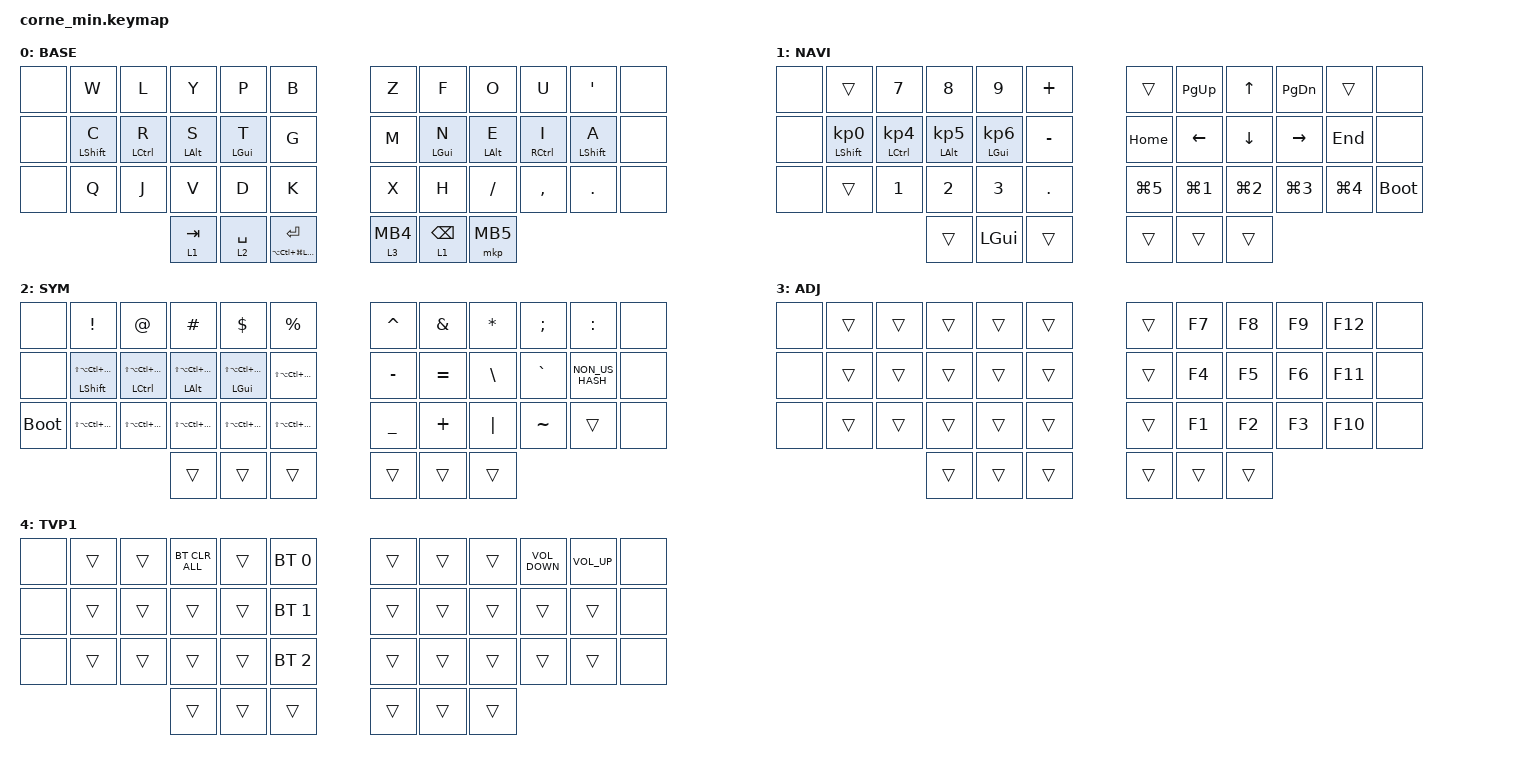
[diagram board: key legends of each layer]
/*
 * Copyright (c) 2020 The ZMK Contributors
 *
 * SPDX-License-Identifier: MIT
 */

#include <behaviors.dtsi>
#include <dt-bindings/zmk/bt.h>
#include <dt-bindings/zmk/keys.h>
#include <dt-bindings/zmk/pointing.h>

#define BASE 0
#define NAV  1
#define SYM  2
#define ADJ  3
#define TVP1 4
#define TVP2 5

&mt {
    quick-tap-ms = <100>;
    global-quick-tap;
    flavor = "tap-preferred";
    tapping-term-ms = <170>;
};

&lt { quick-tap-ms = <400>; };

/ {
    behaviors {
        td_copy_cut: td_copy_cut {
            compatible = "zmk,behavior-tap-dance";
            label = "TD_COPY_CUT";
            #binding-cells = <0>;
            bindings = <&copy_macro>, <&cut_macro>;

            tapping-term-ms = <300>;
        };

        hrm: hrm {
            compatible = "zmk,behavior-hold-tap";
            label = "HRM";
            #binding-cells = <2>;
            flavor = "balanced";
            tapping-term-ms = <400>;
            quick-tap-ms = <0>;
            global-quick-tap;
            bindings = <&kp>, <&kp>;
        };

        ht: ht {
            compatible = "zmk,behavior-hold-tap";
            label = "HT_LAYER_MOUSE";
            #binding-cells = <2>;
            flavor = "balanced";
            tapping-term-ms = <200>;
            bindings = <&mo>, <&mkp>;
        };
    };

    combos {
        compatible = "zmk,combos";

        Arrow {
            bindings = <&Arrow>;
            key-positions = <9 10>;
        };

        Paste {
            bindings = <&paste_macro>;
            key-positions = <28 27>;
        };

        CurlyL {
            bindings = <&kp LEFT_BRACE>;
            key-positions = <19 20>;
        };

        Enter {
            bindings = <&kp ENTER>;
            key-positions = <19 20 21>;
        };

        ParaL {
            bindings = <&kp LEFT_PARENTHESIS>;
            key-positions = <7 8>;
        };

        SquareL {
            bindings = <&kp LEFT_BRACKET>;
            key-positions = <31 32>;
        };

        SquareR {
            bindings = <&kp RIGHT_BRACKET>;
            key-positions = <33 32>;
        };

        ParaR {
            bindings = <&kp RIGHT_PARENTHESIS>;
            key-positions = <9 8>;
        };

        CurlyR {
            bindings = <&kp RIGHT_BRACE>;
            key-positions = <21 20>;
        };

        Tab {
            bindings = <&kp TAB>;
            key-positions = <14 15 16>;
        };

        Undo {
            timeout-ms = <50>;
            bindings = <&undo_macro>;
            key-positions = <3 4>;
        };

        Copy {
            bindings = <&td_copy_cut>;
            key-positions = <15 16>;
        };

        switch {
            bindings = <&kp LS(LA(LC(LG(F12))))>;
            key-positions = <5 6>;
        };

        switch2 {
            bindings = <&kp LS(LA(LC(LG(F11))))>;
            key-positions = <17 18>;
        };

        switch3 {
            bindings = <&kp LS(LC(LA(LG(F16))))>;
            key-positions = <29 30>;
        };

        Switch4 {
            bindings = <&kp LS(LA(LC(LG(F13))))>;
            key-positions = <4 7>;
        };

        Switch5 {
            bindings = <&kp LS(LA(LC(LG(F14))))>;
            key-positions = <19 16>;
        };

        Switch6 {
            bindings = <&kp LS(LA(LC(LG(F15))))>;
            key-positions = <28 31>;
        };

        Esc {
            bindings = <&kp ESC>;
            key-positions = <1 10>;
        };
    };

    macros {
        Arrow: Arrow {
            compatible = "zmk,behavior-macro";
            #binding-cells = <0>;
            bindings = <&kp EQUAL &kp GT>;
            label = "ARROW";
        };

        copy_macro: copy_macro {
            compatible = "zmk,behavior-macro";
            label = "COPY_MACRO";
            #binding-cells = <0>;
            bindings = <&kp LG(C)>;
        };

        cut_macro: cut_macro {
            compatible = "zmk,behavior-macro";
            label = "CUT_MACRO";
            #binding-cells = <0>;
            bindings = <&kp LG(X)>;
        };

        paste_macro: paste_macro {
            compatible = "zmk,behavior-macro";
            label = "PASTE_MACRO";
            #binding-cells = <0>;
            bindings = <&kp LG(V)>;
        };

        undo_macro: undo_macro {
            compatible = "zmk,behavior-macro";
            label = "UNDO_MACRO";
            #binding-cells = <0>;
            bindings = <&kp LG(Z)>;
        };
    };

    keymap {
        compatible = "zmk,keymap";

        default_layer {
            display-name = "BASE";
            bindings = <
&none  &kp W              &kp L         &kp Y            &kp P            &kp B                               &kp Z      &kp F            &kp O            &kp U                 &kp SQT            &none
&none  &hrm LEFT_SHIFT C  &hrm LCTRL R  &hrm LEFT_ALT S  &hrm LEFT_GUI T  &kp G                               &kp M      &hrm LEFT_GUI N  &hrm LEFT_ALT E  &hrm RIGHT_CONTROL I  &hrm LEFT_SHIFT A  &none
&none  &kp Q              &kp J         &kp V            &kp D            &kp K                               &kp X      &kp H            &kp FSLH         &kp COMMA             &kp DOT            &none
                                        &lt 1 TAB        &lt 2 SPACE      &mt LA(LC(LG(LEFT_SHIFT))) ENTER    &ht 3 MB4  &lt 1 BACKSPACE  &mkp MB5
            >;
        };

        nav_layer {
            display-name = "NAVI";
            bindings = <
&none  &trans                      &kp N7                 &kp N8                    &kp N9                    &kp PLUS      &trans      &kp PAGE_UP       &kp UP            &kp PAGE_DOWN     &trans            &none
&none  &mt LEFT_SHIFT KP_NUMBER_0  &mt LCTRL KP_NUMBER_4  &mt LEFT_ALT KP_NUMBER_5  &mt LEFT_GUI KP_NUMBER_6  &kp MINUS     &kp HOME    &kp LEFT_ARROW    &kp DOWN_ARROW    &kp RIGHT_ARROW   &kp END           &none
&none  &trans                      &kp N1                 &kp N2                    &kp N3                    &kp PERIOD    &kp LG(N5)  &kp LG(NUMBER_1)  &kp LG(NUMBER_2)  &kp LG(NUMBER_3)  &kp LG(NUMBER_4)  &bootloader
                                                          &trans                    &kp LEFT_GUI              &trans        &trans      &trans            &trans
            >;
        };

        sym_layer {
            display-name = "SYM";
            bindings = <
&none        &kp EXCL                           &kp AT                        &kp POUND                        &kp DLLR                         &kp PRCNT                 &kp CARET  &kp AMPS   &kp ASTERISK   &kp SEMI   &kp COLON        &none
&none        &mt LEFT_SHIFT LS(LA(LC(LG(F4))))  &mt LCTRL LS(LA(LC(LG(F3))))  &mt LEFT_ALT LS(LA(LC(LG(F2))))  &mt LEFT_GUI LS(LA(LC(LG(F1))))  &kp LS(LA(LC(LG(F5))))    &kp MINUS  &kp EQUAL  &kp BACKSLASH  &kp GRAVE  &kp NON_US_HASH  &none
&bootloader  &kp LS(LA(LC(LG(F10))))            &kp LS(LA(LC(LG(F9))))        &kp LS(LA(LC(LG(F8))))           &kp LS(LA(LC(LG(F7))))           &kp LS(LA(LC(LG(F6))))    &kp UNDER  &kp PLUS   &kp PIPE       &kp TILDE  &trans           &none
                                                                              &trans                           &trans                           &trans                    &trans     &trans     &trans
            >;
        };

        adjust_layer {
            display-name = "ADJ";
            bindings = <
&none  &trans  &trans  &trans  &trans  &trans    &trans  &kp F7  &kp F8  &kp F9  &kp F12  &none
&none  &trans  &trans  &trans  &trans  &trans    &trans  &kp F4  &kp F5  &kp F6  &kp F11  &none
&none  &trans  &trans  &trans  &trans  &trans    &trans  &kp F1  &kp F2  &kp F3  &kp F10  &none
                       &trans  &trans  &trans    &trans  &trans  &trans
            >;
        };

        tvp1_layer {
            display-name = "TVP1";
            bindings = <
&none  &trans  &trans  &bt BT_CLR_ALL  &trans  &bt BT_SEL 0    &trans  &trans  &trans  &kp C_VOLUME_DOWN  &kp C_VOLUME_UP  &none
&none  &trans  &trans  &trans          &trans  &bt BT_SEL 1    &trans  &trans  &trans  &trans             &trans           &none
&none  &trans  &trans  &trans          &trans  &bt BT_SEL 2    &trans  &trans  &trans  &trans             &trans           &none
                       &trans          &trans  &trans          &trans  &trans  &trans
            >;
        };

        tvp2_layer {
            display-name = "TVP2";
            status = "reserved";
        };
    };
};
